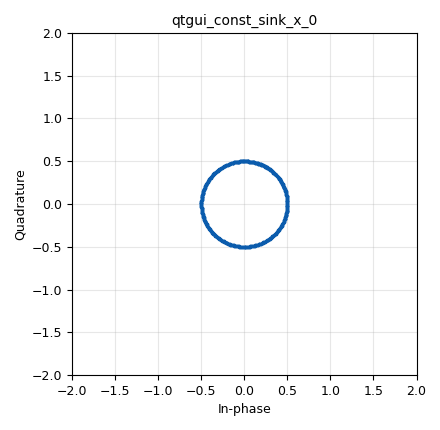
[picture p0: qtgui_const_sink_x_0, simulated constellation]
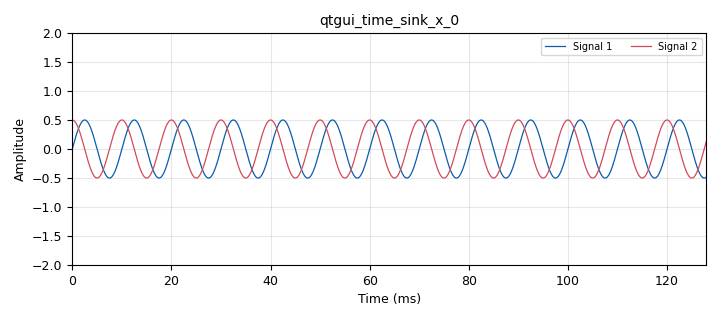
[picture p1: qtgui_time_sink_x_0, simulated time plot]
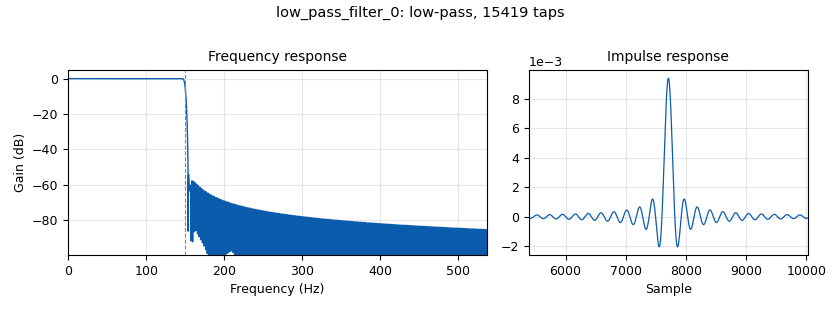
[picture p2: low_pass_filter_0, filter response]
options:
  parameters:
    generate_options: qt_gui
    id: IQ_Sampling
    output_language: python
    title: Not titled yet
  states: {}

blocks:
- name: freq
  id: variable_qtgui_range
  parameters:
    label: Source Frequency
    start: '900'
    step: '1'
    stop: '1100'
    value: '1100'
  states: {}
- name: samp_rate
  id: variable
  parameters:
    value: '32000'
  states: {}
- name: analog_sig_source_x_0
  id: analog_sig_source_x
  parameters:
    amp: '1'
    freq: freq
    offset: '0'
    phase: '0'
    samp_rate: samp_rate
    type: float
    waveform: analog.GR_COS_WAVE
  states: {}
- name: analog_sig_source_x_1
  id: analog_sig_source_x
  parameters:
    amp: '1'
    freq: '1000'
    offset: '0'
    phase: '0'
    samp_rate: samp_rate
    type: float
    waveform: analog.GR_COS_WAVE
  states: {}
- name: analog_sig_source_x_2
  id: analog_sig_source_x
  parameters:
    amp: '1'
    freq: '1000'
    offset: '0'
    phase: '0'
    samp_rate: samp_rate
    type: float
    waveform: analog.GR_SIN_WAVE
  states: {}
- name: blocks_float_to_complex_0
  id: blocks_float_to_complex
  parameters: {}
  states: {}
- name: blocks_multiply_xx_0
  id: blocks_multiply_xx
  parameters:
    type: float
  states: {}
- name: blocks_multiply_xx_1
  id: blocks_multiply_xx
  parameters:
    type: float
  states: {}
- name: low_pass_filter_0
  id: low_pass_filter
  parameters:
    cutoff_freq: '150'
    decim: '1'
    gain: '1'
    samp_rate: samp_rate
    type: fir_filter_fff
    width: '5'
    win: window.WIN_HAMMING
  states: {}
- name: low_pass_filter_0_0
  id: low_pass_filter
  parameters:
    cutoff_freq: '150'
    decim: '1'
    gain: '1'
    samp_rate: samp_rate
    type: fir_filter_fff
    width: '5'
    win: window.WIN_HAMMING
  states: {}
- name: qtgui_const_sink_x_0
  id: qtgui_const_sink_x
  parameters:
    size: '1024'
    type: complex
  states: {}
- name: qtgui_time_sink_x_0
  id: qtgui_time_sink_x
  parameters:
    nconnections: '2'
    size: '4096'
    srate: samp_rate
    tr_mode: qtgui.TRIG_MODE_AUTO
    type: float
    ymax: '2'
    ymin: '-2'
  states: {}

connections:
- [analog_sig_source_x_0, '0', blocks_multiply_xx_0, '0']
- [analog_sig_source_x_0, '0', blocks_multiply_xx_1, '1']
- [analog_sig_source_x_1, '0', blocks_multiply_xx_0, '1']
- [analog_sig_source_x_2, '0', blocks_multiply_xx_1, '0']
- [blocks_float_to_complex_0, '0', qtgui_const_sink_x_0, '0']
- [blocks_multiply_xx_0, '0', low_pass_filter_0, '0']
- [blocks_multiply_xx_1, '0', low_pass_filter_0_0, '0']
- [low_pass_filter_0, '0', blocks_float_to_complex_0, '0']
- [low_pass_filter_0, '0', qtgui_time_sink_x_0, '0']
- [low_pass_filter_0_0, '0', blocks_float_to_complex_0, '1']
- [low_pass_filter_0_0, '0', qtgui_time_sink_x_0, '1']

metadata:
  file_format: 1
  grc_version: 3.10.7.0
